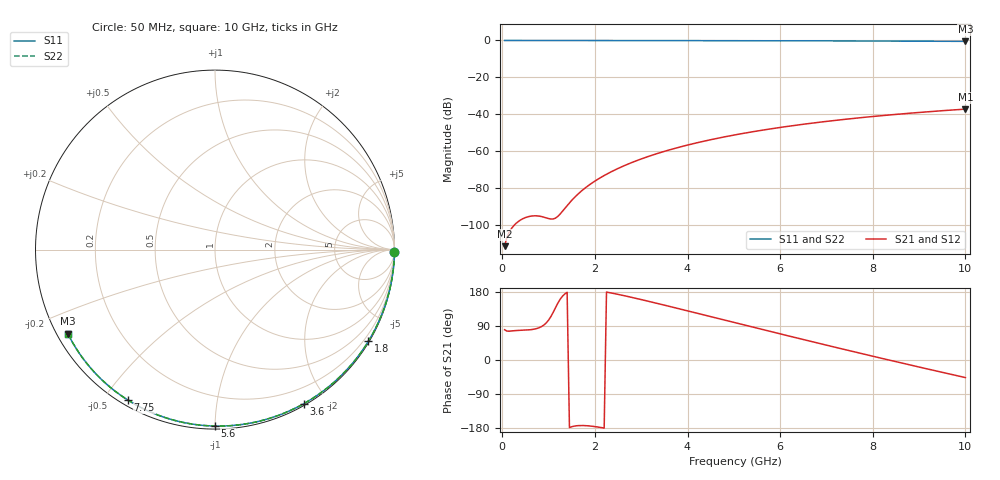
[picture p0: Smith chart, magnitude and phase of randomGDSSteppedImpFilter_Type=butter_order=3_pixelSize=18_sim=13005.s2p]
! freq	dB(S11)	phase(S11)	dB(S12)	phase(S12)
!  dB(S21)	phase(S21)	dB(S22)	phase(S22)
!S-par simulation data
#  GHz  S  DB  R 50
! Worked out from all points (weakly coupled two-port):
!   200 points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, 50 MHz to 10 GHz, reference 50 ohm
!   highest |S21| = -37.10 dB at 10 GHz (marker M1); lowest = -111.2 dB at 50 MHz (marker M2)
!   lowest |S11| = -0.5 dB at 10 GHz (marker M3), VSWR 34.91, Z = 1.53 - j13.2 ohm
!   |S11| at or under -10 dB: nowhere
!   |S22| runs from -0.5 to 0.0 dB; largest |S21 - S12| = 0
!   S11 on the Smith chart (normalised r, x): 50 MHz: open; 1.8 GHz: 0.03, -3.63; 3.6 GHz: 0.02, -1.73; 5.6 GHz: 0.02, -1.00; 7.75 GHz: 0.02, -0.58; 10 GHz: 0.03, -0.26
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0.05  -0.00 -0.9  -111.19 79.8  -111.19 79.8  -0.00 -0.9
0.45  -0.01 -7.8  -96.27 78.6  -96.27 78.6  -0.01 -7.8
0.9  -0.02 -15.6  -95.52 92.5  -95.52 92.5  -0.02 -15.6
1.3  -0.03 -22.4  -92.28 168.3  -92.28 168.3  -0.03 -22.4
1.75  -0.04 -30.0  -80.53 -173.0  -80.53 -173.0  -0.04 -30.0
1.8  -0.04 -30.8  -79.54 -173.3  -79.54 -173.3  -0.04 -30.8
1.95  -0.04 -33.3  -76.83 -174.9  -76.83 -174.9  -0.04 -33.3
2.1  -0.05 -35.8  -74.45 -177.5  -74.45 -177.5  -0.05 -35.8
2.3  -0.05 -39.1  -71.65 178.1  -71.65 178.1  -0.05 -39.1
2.5  -0.05 -42.4  -69.18 173.2  -69.18 173.2  -0.05 -42.4
2.9  -0.06 -48.9  -64.97 162.3  -64.97 162.3  -0.06 -48.9
3.4  -0.08 -56.9  -60.69 147.8  -60.69 147.8  -0.08 -56.9
3.6  -0.08 -60.0  -59.21 141.8  -59.21 141.8  -0.08 -60.0
4.3  -0.10 -70.9  -54.75 120.6  -54.75 120.6  -0.10 -70.8
5.05  -0.13 -82.1  -50.91 97.7  -50.91 97.7  -0.13 -82.1
5.6  -0.15 -90.1  -48.55 81.0  -48.55 81.0  -0.15 -90.1
6.15  -0.17 -98.0  -46.48 64.5  -46.48 64.5  -0.17 -97.9
6.7  -0.20 -105.6  -44.65 48.0  -44.65 48.0  -0.20 -105.6
7.75  -0.28 -120.0  -41.71 17.2  -41.71 17.2  -0.28 -120.0
8.35  -0.32 -128.1  -40.28 -0.1  -40.28 -0.1  -0.32 -128.0
9.2  -0.41 -139.5  -38.52 -24.2  -38.52 -24.2  -0.41 -139.4
10  -0.50 -150.3  -37.10 -46.4  -37.10 -46.4  -0.50 -150.3
